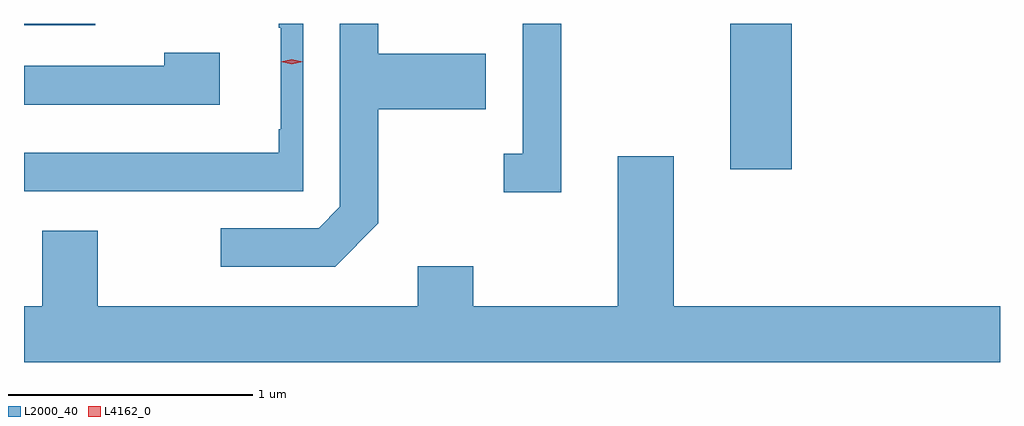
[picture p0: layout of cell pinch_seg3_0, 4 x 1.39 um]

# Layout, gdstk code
import gdstk
lib = gdstk.Library(unit=1e-6, precision=1e-09)
def R(c, l, rs):  # rectangles x0, y0, x1, y1
    for r in rs: c.add(gdstk.rectangle(r[:2], r[2:], *l))
def P(c, l, *ps):  # polygons
    for p in ps: c.add(gdstk.Polygon(p, *l))
L2000_40 = (2000, 40)
L4162_0 = (4162, 0)

pinch_seg3_0 = lib.new_cell('pinch_seg3_0')
R(pinch_seg3_0, L2000_40, [(846.831,1253.386,847.084,1253.982), (843.937,1253.976,844.228,1253.982)])
P(pinch_seg3_0, L2000_40, [(845.081,1253.982),(844.981,1253.982),(844.981,1253.965),(844.99,1253.965),(844.99,1253.55),(844.981,1253.55),(844.981,1253.454),(843.937,1253.454),(843.937,1253.296),(845.081,1253.296)],
  [(846.139,1253.982),(845.981,1253.982),(845.981,1253.449),(845.903,1253.449),(845.903,1253.291),(846.139,1253.291)],
  [(845.389,1253.164),(845.389,1253.631),(845.829,1253.631),(845.829,1253.859),(845.389,1253.859),(845.389,1253.982),(845.231,1253.982),(845.231,1253.232),(845.144,1253.144),(844.743,1253.144),(844.743,1252.986),(845.212,1252.986)],
  [(844.739,1253.864),(844.511,1253.864),(844.511,1253.809),(843.937,1253.809),(843.937,1253.651),(844.739,1253.651)],
  [(847.937,1252.824),(846.599,1252.824),(846.599,1253.439),(846.371,1253.439),(846.371,1252.824),(845.779,1252.824),(845.779,1252.989),(845.551,1252.989),(845.551,1252.824),(844.239,1252.824),(844.239,1253.134),(844.011,1253.134),(844.011,1252.824),(843.937,1252.824),(843.937,1252.595),(847.937,1252.595)])
P(pinch_seg3_0, L4162_0, [(845.035,1253.817),(844.99,1253.826),(844.989,1253.827),(844.99,1253.827),(845.035,1253.837),(845.08,1253.827),(845.08,1253.827),(845.08,1253.826)],
  [(845.034,1253.816),(844.996,1253.826),(844.995,1253.826),(844.996,1253.827),(845.034,1253.836),(845.072,1253.827),(845.072,1253.826),(845.072,1253.826)])

lib.write_gds('pinch_seg3_0.gds')
